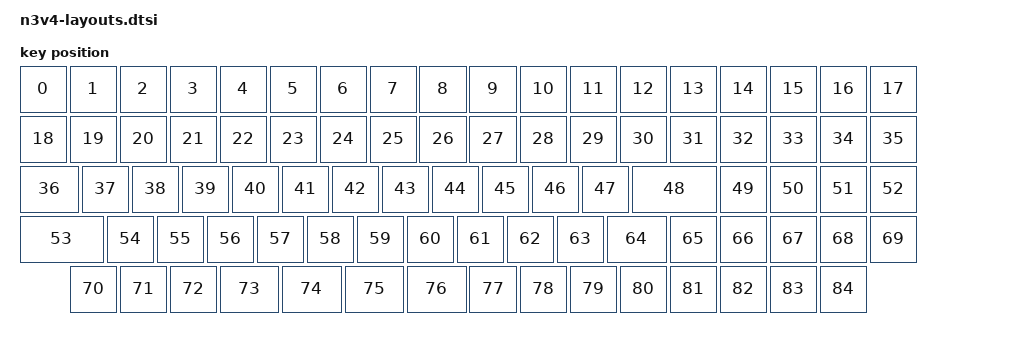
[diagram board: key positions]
#include <physical_layouts.dtsi>

/ {
    physical_layout_n3v4: physical_layout_n3v4 {
        compatible = "zmk,physical-layout";
        display-name = "N3V4";
        keys  //                     w   h    x    y     rot    rx    ry
            = <&key_physical_attrs 100 100    0    0       0     0     0>
            , <&key_physical_attrs 100 100  100    0       0     0     0>
            , <&key_physical_attrs 100 100  200    0       0     0     0>
            , <&key_physical_attrs 100 100  300    0       0     0     0>
            , <&key_physical_attrs 100 100  400    0       0     0     0>
            , <&key_physical_attrs 100 100  500    0       0     0     0>
            , <&key_physical_attrs 100 100  600    0       0     0     0>
            , <&key_physical_attrs 100 100  700    0       0     0     0>
            , <&key_physical_attrs 100 100  800    0       0     0     0>
            , <&key_physical_attrs 100 100  900    0       0     0     0>
            , <&key_physical_attrs 100 100 1000    0       0     0     0>
            , <&key_physical_attrs 100 100 1100    0       0     0     0>
            , <&key_physical_attrs 100 100 1200    0       0     0     0>
            , <&key_physical_attrs 100 100 1300    0       0     0     0>
            , <&key_physical_attrs 100 100 1400    0       0     0     0>
            , <&key_physical_attrs 100 100 1500    0       0     0     0>
            , <&key_physical_attrs 100 100 1600    0       0     0     0>
            , <&key_physical_attrs 100 100 1700    0       0     0     0>
            , <&key_physical_attrs 100 100    0  100       0     0     0>
            , <&key_physical_attrs 100 100  100  100       0     0     0>
            , <&key_physical_attrs 100 100  200  100       0     0     0>
            , <&key_physical_attrs 100 100  300  100       0     0     0>
            , <&key_physical_attrs 100 100  400  100       0     0     0>
            , <&key_physical_attrs 100 100  500  100       0     0     0>
            , <&key_physical_attrs 100 100  600  100       0     0     0>
            , <&key_physical_attrs 100 100  700  100       0     0     0>
            , <&key_physical_attrs 100 100  800  100       0     0     0>
            , <&key_physical_attrs 100 100  900  100       0     0     0>
            , <&key_physical_attrs 100 100 1000  100       0     0     0>
            , <&key_physical_attrs 100 100 1100  100       0     0     0>
            , <&key_physical_attrs 100 100 1200  100       0     0     0>
            , <&key_physical_attrs 100 100 1300  100       0     0     0>
            , <&key_physical_attrs 100 100 1400  100       0     0     0>
            , <&key_physical_attrs 100 100 1500  100       0     0     0>
            , <&key_physical_attrs 100 100 1600  100       0     0     0>
            , <&key_physical_attrs 100 100 1700  100       0     0     0>
            , <&key_physical_attrs 125 100    0  200       0     0     0>
            , <&key_physical_attrs 100 100  125  200       0     0     0>
            , <&key_physical_attrs 100 100  225  200       0     0     0>
            , <&key_physical_attrs 100 100  325  200       0     0     0>
            , <&key_physical_attrs 100 100  425  200       0     0     0>
            , <&key_physical_attrs 100 100  525  200       0     0     0>
            , <&key_physical_attrs 100 100  625  200       0     0     0>
            , <&key_physical_attrs 100 100  725  200       0     0     0>
            , <&key_physical_attrs 100 100  825  200       0     0     0>
            , <&key_physical_attrs 100 100  925  200       0     0     0>
            , <&key_physical_attrs 100 100 1025  200       0     0     0>
            , <&key_physical_attrs 100 100 1125  200       0     0     0>
            , <&key_physical_attrs 175 100 1225  200       0     0     0>
            , <&key_physical_attrs 100 100 1400  200       0     0     0>
            , <&key_physical_attrs 100 100 1500  200       0     0     0>
            , <&key_physical_attrs 100 100 1600  200       0     0     0>
            , <&key_physical_attrs 100 100 1700  200       0     0     0>
            , <&key_physical_attrs 175 100    0  300       0     0     0>
            , <&key_physical_attrs 100 100  175  300       0     0     0>
            , <&key_physical_attrs 100 100  275  300       0     0     0>
            , <&key_physical_attrs 100 100  375  300       0     0     0>
            , <&key_physical_attrs 100 100  475  300       0     0     0>
            , <&key_physical_attrs 100 100  575  300       0     0     0>
            , <&key_physical_attrs 100 100  675  300       0     0     0>
            , <&key_physical_attrs 100 100  775  300       0     0     0>
            , <&key_physical_attrs 100 100  875  300       0     0     0>
            , <&key_physical_attrs 100 100  975  300       0     0     0>
            , <&key_physical_attrs 100 100 1075  300       0     0     0>
            , <&key_physical_attrs 125 100 1175  300       0     0     0>
            , <&key_physical_attrs 100 100 1300  300       0     0     0>
            , <&key_physical_attrs 100 100 1400  300       0     0     0>
            , <&key_physical_attrs 100 100 1500  300       0     0     0>
            , <&key_physical_attrs 100 100 1600  300       0     0     0>
            , <&key_physical_attrs 100 100 1700  300       0     0     0>
            , <&key_physical_attrs 100 100  100  400       0     0     0>
            , <&key_physical_attrs 100 100  200  400       0     0     0>
            , <&key_physical_attrs 100 100  300  400       0     0     0>
            , <&key_physical_attrs 125 100  400  400       0     0     0>
            , <&key_physical_attrs 125 100  525  400       0     0     0>
            , <&key_physical_attrs 125 100  650  400       0     0     0>
            , <&key_physical_attrs 125 100  775  400       0     0     0>
            , <&key_physical_attrs 100 100  900  400       0     0     0>
            , <&key_physical_attrs 100 100 1000  400       0     0     0>
            , <&key_physical_attrs 100 100 1100  400       0     0     0>
            , <&key_physical_attrs 100 100 1200  400       0     0     0>
            , <&key_physical_attrs 100 100 1300  400       0     0     0>
            , <&key_physical_attrs 100 100 1400  400       0     0     0>
            , <&key_physical_attrs 100 100 1500  400       0     0     0>
            , <&key_physical_attrs 100 100 1600  400       0     0     0>
            ;
    };
};
